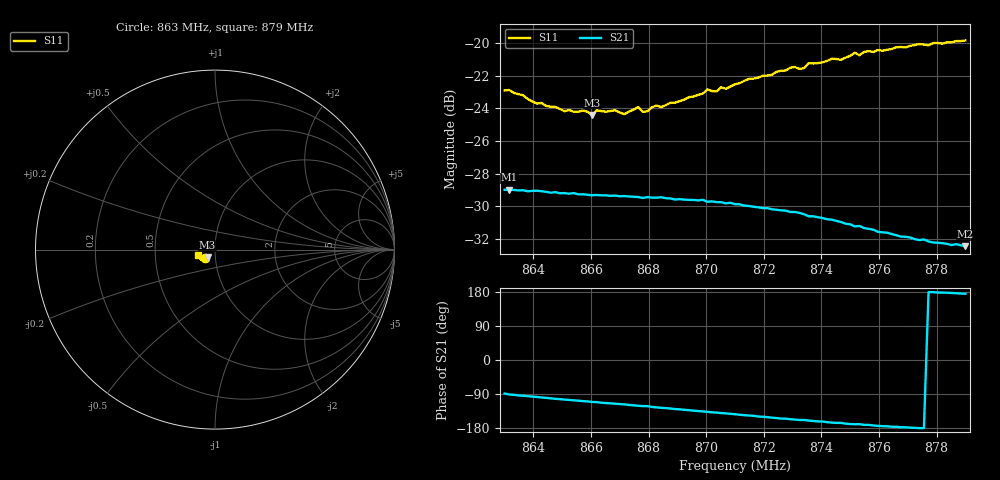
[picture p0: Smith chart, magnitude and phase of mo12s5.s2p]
# HZ S RI R 50
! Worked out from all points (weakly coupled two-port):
!   101 points, 863 MHz to 879 MHz, reference 50 ohm
!   highest |S21| = -28.98 dB at 863.16 MHz (marker M1); lowest = -32.5 dB at 879 MHz (marker M2)
!   lowest |S11| = -24.4 dB at 866.04 MHz (marker M3), VSWR 1.13, Z = 45.9 - j4.04 ohm
!   |S11| at or under -10 dB: start of sweep to end of sweep
!   S12 and S22 are empty: the file has one direction only
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8.63e8  -0.0553 -0.0454  0.000863 -0.0355  0 0  0 0
8.6316e8  -0.0564 -0.0445  -0.000584 -0.0355  0 0  0 0
8.6412e8  -0.0491 -0.043  -0.00465 -0.035  0 0  0 0
8.6508e8  -0.0451 -0.0423  -0.0087 -0.0336  0 0  0 0
8.6572e8  -0.0433 -0.0446  -0.0109 -0.0326  0 0  0 0
8.6604e8  -0.0412 -0.0439  -0.0121 -0.032  0 0  0 0
8.662e8  -0.0425 -0.0454  -0.0124 -0.0319  0 0  0 0
8.6684e8  -0.0407 -0.0471  -0.0146 -0.0308  0 0  0 0
8.6716e8  -0.0381 -0.047  -0.0155 -0.0302  0 0  0 0
8.6764e8  -0.0402 -0.0494  -0.0173 -0.029  0 0  0 0
8.678e8  -0.0385 -0.048  -0.0176 -0.0285  0 0  0 0
8.6828e8  -0.0396 -0.0508  -0.0193 -0.0275  0 0  0 0
8.6844e8  -0.0389 -0.0504  -0.0199 -0.0272  0 0  0 0
8.7004e8  -0.0439 -0.0573  -0.0238 -0.0223  0 0  0 0
8.7036e8  -0.0434 -0.0563  -0.0245 -0.0214  0 0  0 0
8.71e8  -0.0462 -0.0588  -0.0256 -0.0192  0 0  0 0
8.7372e8  -0.0617 -0.0607  -0.0278 -0.00963  0 0  0 0
8.7468e8  -0.0683 -0.057  -0.0274 -0.00687  0 0  0 0
8.7516e8  -0.0741 -0.057  -0.027 -0.00498  0 0  0 0
8.7532e8  -0.0723 -0.0566  -0.027 -0.00515  0 0  0 0
8.7644e8  -0.0816 -0.0504  -0.0259 -0.00178  0 0  0 0
8.79e8  -0.0967 -0.0323  -0.0237 0.00213  0 0  0 0
